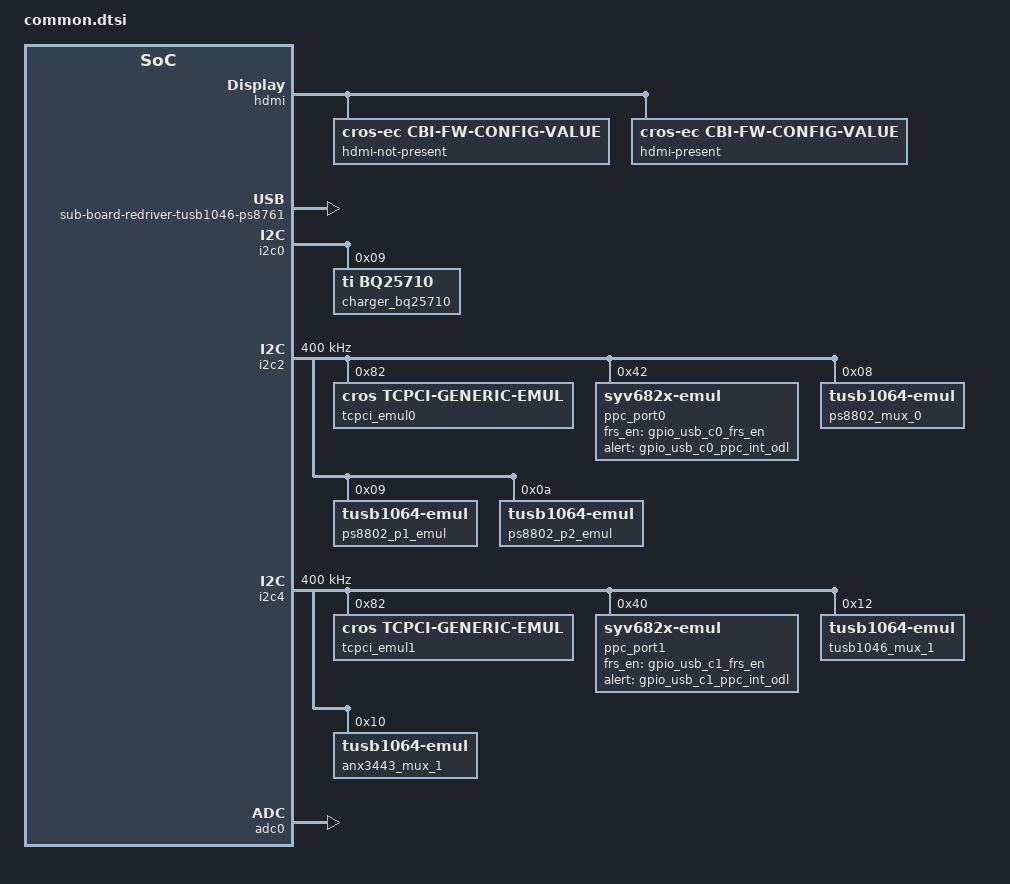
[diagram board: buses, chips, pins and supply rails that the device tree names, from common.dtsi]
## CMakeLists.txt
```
# Copyright 2025 The ChromiumOS Authors
# Use of this source code is governed by a BSD-style license that can be
# found in the LICENSE file.

# SPDX-License-Identifier: Apache-2.0

cmake_minimum_required(VERSION 3.20.0)

# Initialize Zephyr
find_package(Zephyr REQUIRED HINTS $ENV{ZEPHYR_BASE})
project(rauru_usbc_tests)

add_subdirectory(${PLATFORM_EC}/zephyr/test/test_utils test_utils)

zephyr_include_directories(
	"${PLATFORM_EC_PROGRAM_DIR}/rauru/include"
	include)

target_compile_definitions(app PRIVATE CHARGER_SOLO=0 CONFIG_PLATFORM_EC_CHARGER_BQ25720=1)

target_sources(app PRIVATE
	${PLATFORM_EC_PROGRAM_DIR}/rauru/src/common.c
	src/main.c)

if(DEFINED CONFIG_TEST_RAURU_USBC)
	target_sources(app PRIVATE
		${PLATFORM_EC_PROGRAM_DIR}/rauru/src/usbc.c
		${PLATFORM_EC_PROGRAM_DIR}/rauru/src/dp_alt_mode.c
		${PLATFORM_EC_PROGRAM_DIR}/rauru/src/hdmi.c
		${PLATFORM_EC_PROGRAM_DIR}/rauru/src/hooks.c
		${PLATFORM_EC_PROGRAM_DIR}/rauru/src/hibernate.c
		${PLATFORM_EC_PROGRAM_DIR}/rauru/src/sub_board.c
		${PLATFORM_EC_PROGRAM_DIR}/rauru/navi/src/suspend_resume.c
		${PLATFORM_EC_PROGRAM_DIR}/rauru/navi/src/usb_mux.c
		${PLATFORM_EC}/driver/retimer/ps8802.c
		${PLATFORM_EC}/driver/usb_mux/anx3443.c
		src/usbc_test.c
		src/dp_alt_mode_test.c
		src/hooks_test.c
		src/navi_test.c
		src/retimer_mux_test.c
	)
endif()

if(DEFINED CONFIG_TEST_RAURU_HYLIA)
	target_sources(app PRIVATE
		${PLATFORM_EC_PROGRAM_DIR}/rauru/src/usbc.c
		${PLATFORM_EC_PROGRAM_DIR}/rauru/hylia/src/dp_alt_mode.c
		src/hylia_test.c
	)
endif()
```

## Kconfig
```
# Copyright 2026 The ChromiumOS Authors
# Use of this source code is governed by a BSD-style license that can be
# found in the LICENSE file.

choice
    prompt "Select the test suite"

config TEST_RAURU_USBC
    bool "Run the tests intended for Rauru USBC"
    help
      Enable the Rauru USBC test suite.

config TEST_RAURU_HYLIA
    bool "Run the tests intended for Hylia"
    help
      Enable the Rauru Hylia board and USBC/DP test suite.

endchoice

config RAURU_BOARD_HAS_HDMI_SUPPORT
	bool "Board supports HDMI sub-boards"
	default y

config RAURU_LOG_LEVEL
	int "Log level for rauru"
	default 3

# Pull Zephyr test support
source "Kconfig.zephyr"
```

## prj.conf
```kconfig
# Copyright 2026 The ChromiumOS Authors
# Use of this source code is governed by a BSD-style license that can be
# found in the LICENSE file.

CONFIG_ZTEST=y
CONFIG_ZTEST_ASSERT_VERBOSE=1

CONFIG_ASSERT=y
CONFIG_ADC=y
CONFIG_CROS_EC=y
CONFIG_EMUL=y

CONFIG_SHIMMED_TASKS=n

CONFIG_PLATFORM_EC=y
CONFIG_PLATFORM_EC_BACKLIGHT_LID=n

CONFIG_PLATFORM_EC_USB_PD_VBUS_DETECT_PPC=y
CONFIG_PLATFORM_EC_CHARGE_MANAGER=y
CONFIG_PLATFORM_EC_DEDICATED_CHARGE_PORT=y

CONFIG_PLATFORM_EC_GPIO_INIT_PRIORITY=49
CONFIG_PLATFORM_EC_HOOKS=y
CONFIG_PLATFORM_EC_HOSTCMD=y
CONFIG_PLATFORM_EC_LID_SWITCH=y
CONFIG_PLATFORM_EC_POWERSEQ_HOST_SLEEP=y
CONFIG_PLATFORM_EC_POWER_BUTTON=y
CONFIG_PLATFORM_EC_POWER_SLEEP_FAILURE_DETECTION=y
CONFIG_PLATFORM_EC_SWITCH=n
CONFIG_PLATFORM_EC_TABLET_MODE=y
CONFIG_PLATFORM_EC_USBC=y
CONFIG_PLATFORM_EC_USB_CHARGER=n
CONFIG_PLATFORM_EC_USB_DRP_ACC_TRYSRC=y
CONFIG_PLATFORM_EC_USB_PD_DISCHARGE=n
CONFIG_PLATFORM_EC_USB_PD_VBUS_MEASURE_ADC_EACH_PORT=y
CONFIG_PLATFORM_EC_USB_POWER_DELIVERY=y
CONFIG_PLATFORM_EC_VBOOT_HASH=n

CONFIG_AP_ARM_MTK_MT8196=y
CONFIG_PLATFORM_EC_CHIPSET_RESUME_INIT_HOOK=y
CONFIG_PLATFORM_EC_EXTPOWER_GPIO=y
CONFIG_PLATFORM_EC_POWERSEQ=y
CONFIG_PLATFORM_EC_POWERSEQ_PP5000_CONTROL=n

CONFIG_PLATFORM_EC_USBC_PPC=y

CONFIG_UART_NATIVE_PTY_0_ON_STDINOUT=y
CONFIG_PLATFORM_EC_USB_PD_DP_HPD_GPIO=y
CONFIG_PLATFORM_EC_USB_PD_DP_HPD_GPIO_CUSTOM=y
CONFIG_PLATFORM_EC_USB_PD_ALT_MODE_DFP=y
CONFIG_PLATFORM_EC_MKBP_EVENT=y
```

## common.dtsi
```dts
/* Copyright 2025 The ChromiumOS Authors
 * Use of this source code is governed by a BSD-style license that can be
 * found in the LICENSE file.
 */

#include <it8xxx2_emul.dts>
#include "../program/rauru/power_signal.dtsi"

/ {
	aliases {
		gpio-en-hdmi-pwr = &gpio_en_hdmi_pwr;
	};

	rauru-fw-config {
		compatible = "cros-ec,cbi-fw-config";

		hdmi {
			enum-name = "FW_HDMI";
			start = <13>;
			size = <1>;
			hdmi-not-present {
				compatible = "cros-ec,cbi-fw-config-value";
				enum-name = "FW_HDMI_NOT_PRESENT";
				value = <0>;
			};
			hdmi-present {
				compatible = "cros-ec,cbi-fw-config-value";
				enum-name = "FW_HDMI_PRESENT";
				value = <1>;
				default;
			};
		};
		sub-board {
			enum-name = "FW_SUB_BOARD";
			start = <26>;
			size = <2>;

			sub-board-none {
				compatible = "cros-ec,cbi-fw-config-value";
				enum-name = "FW_SB_NONE";
				value = <0>;
			};

			sub-board-redriver-tusb1046-ps8761 {
				compatible = "cros-ec,cbi-fw-config-value";
				enum-name = "FW_SB_REDRIVER";
				value = <1>;
				default;
			};
			sub-board-retimer-anx3443-ps8811 {
				compatible = "cros-ec,cbi-fw-config-value";
				enum-name = "FW_SB_RETIMER";
				value = <2>;
			};
		};
	};

	fan0: fan0 {
	};

	shi0: shi {
		compatible = "vnd,spi";
		#address-cells = <1>;
		#size-cells = <0>;
		cs-gpios = <&gpiom 5 GPIO_ACTIVE_HIGH>;
	};

	pinctrl: pinctrl {
		compatible = "ite,it8xxx2-pinctrl";
		status = "disabled";
	};

	named-gpios {
		compatible = "named-gpios";

		/* unimplemented GPIOs */
		entering_rw: entering_rw {
			enum-name = "GPIO_ENTERING_RW";
		};

		/* a label to prevent build break in power sequencing */
		en_pp4200_s5: en_pp3700_s5 {
			gpios = <&gpioh 5 (GPIO_OUTPUT_LOW)>;
		};

		gpio_als_int_ec_odl: als_int_ec_odl {
			gpios = <&gpiob 6 (GPIO_INPUT)>;
		};
		gpio_ap_ec_sysrst_odl: ap_ec_sysrst_odl {
			gpios = <&gpioj 2 (GPIO_INPUT)>;
			enum-name = "GPIO_AP_EC_SYSRST_ODL";
		};
		gpio_ap_ec_warm_rst_req: ap_ec_warm_rst_req {
			gpios = <&gpiom 3 (GPIO_INPUT)>;
			enum-name = "GPIO_AP_EC_WARM_RST_REQ";
		};
		gpio_ap_ec_wdtrst_l: ap_ec_wdtrst_l {
			gpios = <&gpioj 3 (GPIO_INPUT)>;
			enum-name = "GPIO_AP_EC_WDTRST_L";
		};
		gpio_ap_in_sleep_l: ap_in_sleep_l {
			gpios = <&gpiom 2 (GPIO_INPUT)>;
			enum-name = "GPIO_AP_IN_SLEEP_L";
		};
		gpio_ap_xhci_init_done: ap_xhci_init_done_r {
			gpios = <&gpioj 4 (GPIO_INPUT)>;
		};
		gpio_ccd_mode_odl: ccd_mode_odl {
			gpios = <&gpioe 5 (GPIO_INPUT)>;
		};
		gpio_charger_prochot_odl: charger_prochot_odl {
			gpios = <&gpioc 0 (GPIO_INPUT)>;
		};
		gpio_dp_path_hdmi_en: dp_path_hdmi_en {
			gpios = <&gpioi 6 (GPIO_OUTPUT | GPIO_ACTIVE_HIGH | GPIO_OUTPUT_INIT_LOW)>;
		};
		gpio_dp_path_usb_c1_en: dp_path_usb_c1_en {
			gpios = <&gpiog 0 (GPIO_OUTPUT | GPIO_ACTIVE_HIGH | GPIO_OUTPUT_INIT_LOW)>;
		};
		gpio_ec_ap_dp_hpd_l: ec_ap_dp_hpd_l {
			gpios = <&gpiof 3 (GPIO_OUTPUT | GPIO_INPUT | GPIO_ACTIVE_HIGH | GPIO_OUTPUT_INIT_HIGH)>;
		};
		gpio_ec_ap_int_odl: ec_ap_int_odl {
			gpios = <&gpiom 6 (GPIO_OUTPUT | GPIO_OPEN_DRAIN | GPIO_ACTIVE_HIGH | GPIO_OUTPUT_INIT_HIGH)>;
			enum-name = "GPIO_EC_INT_L";
		};
		gpio_ec_ap_sys_rst_odl: ec_ap_sys_rst_odl {
			gpios = <&gpioj 5 (GPIO_OUTPUT | GPIO_OPEN_DRAIN | GPIO_ACTIVE_HIGH | GPIO_OUTPUT_INIT_HIGH)>;
			enum-name = "GPIO_SYS_RST_ODL";
		};
		gpio_ec_batt_pres_odl: ec_batt_pres_odl {
			gpios = <&gpioc 3 (GPIO_INPUT)>;
			enum-name = "GPIO_BATT_PRES_ODL";
		};
		gpio_ec_bl_en_od: ec_bl_en_od {
			gpios = <&gpiod 2 (GPIO_OUTPUT | GPIO_OPEN_DRAIN | GPIO_ACTIVE_HIGH | GPIO_OUTPUT_INIT_LOW)>;
		};
		gpio_ec_cbi_wp: ec_cbi_wp {
			gpios = <&gpioc 5 (GPIO_OUTPUT | GPIO_ACTIVE_HIGH | GPIO_OUTPUT_INIT_LOW)>;
		};
		gpio_ec_flash_wp_odl: ec_flash_wp_odl {
			gpios = <&gpioc 4 (GPIO_INPUT)>;
		};
		gpio_ec_gsc_packet_mode_en: ec_gsc_packet_mode_en {
			gpios = <&gpioe 6 (GPIO_OUTPUT | GPIO_ACTIVE_HIGH | GPIO_OUTPUT_INIT_LOW)>;
			enum-name = "GPIO_PACKET_MODE_EN";
		};
		gpio_ec_led1_odl: ec_led1_odl {
			gpios = <&gpioa 0 (GPIO_OUTPUT | GPIO_OPEN_DRAIN | GPIO_ACTIVE_HIGH | GPIO_OUTPUT_INIT_HIGH)>;
		};
		gpio_ec_led2_odl: ec_led2_odl {
			gpios = <&gpioa 1 (GPIO_OUTPUT | GPIO_OPEN_DRAIN | GPIO_ACTIVE_HIGH | GPIO_OUTPUT_INIT_HIGH)>;
		};
		gpio_ec_pmic_en_odl_r: ec_pmic_en_odl_r {
			gpios = <&gpioj 0 (GPIO_OUTPUT | GPIO_OPEN_DRAIN | GPIO_ACTIVE_HIGH | GPIO_OUTPUT_INIT_HIGH)>;
			enum-name = "GPIO_EC_PMIC_EN_ODL";
		};
		gpio_ec_voldn_btn_odl: ec_voldn_btn_odl {
			gpios = <&gpioe 3 (GPIO_INPUT)>;
			enum-name = "GPIO_VOLUME_DOWN_L";
		};
		gpio_ec_volup_btn_odl: ec_volup_btn_odl {
			gpios = <&gpioe 4 (GPIO_INPUT)>;
			enum-name = "GPIO_VOLUME_UP_L";
		};
		gpio_en_hdmi_pwr: en_hdmi_pwr {
			gpios = <&gpioi 5 (GPIO_OUTPUT | GPIO_ACTIVE_HIGH | GPIO_OUTPUT_INIT_LOW)>;
		};
		gpio_en_kb_bl: en_kb_bl {
			gpios = <&gpiog 2 (GPIO_OUTPUT | GPIO_ACTIVE_HIGH)>;
			enum-name = "GPIO_EN_KEYBOARD_BACKLIGHT";
		};
		gpio_en_pp5000_fan: en_pp5000_fan {
			gpios = <&gpioa 6 (GPIO_OUTPUT | GPIO_ACTIVE_HIGH | GPIO_OUTPUT_INIT_LOW)>;
		};
		gpio_en_pp5000_pen_l: en_pp5000_pen_l {
			gpios = <&gpiog 3 (GPIO_OUTPUT | GPIO_ACTIVE_HIGH | GPIO_OUTPUT_INIT_HIGH)>;
		};
		gpio_en_pp5000_usba_vbus: en_pp5000_usba_vbus {
			gpios = <&gpiog 1 (GPIO_OUTPUT | GPIO_ACTIVE_HIGH | GPIO_OUTPUT_INIT_LOW)>;
		};
		gpio_en_pp5000_z1: en_pp5000_z1 {
			gpios = <&gpioh 3 (GPIO_OUTPUT | GPIO_ACTIVE_HIGH | GPIO_OUTPUT_INIT_HIGH)>;
		};
		gpio_en_ulp: en_ulp {
			gpios = <&gpioh 0 (GPIO_OUTPUT | GPIO_ACTIVE_HIGH | GPIO_OUTPUT_INIT_LOW)>;
		};
		gpio_gsc_acok_od: gsc_acok_od {
			gpios = <&gpioe 1 (GPIO_INPUT)>;
			enum-name = "GPIO_AC_PRESENT";
		};
		gpio_gsc_ec_pwr_btn_odl: gsc_ec_pwr_btn_odl {
			gpios = <&gpioe 2 (GPIO_INPUT)>;
			enum-name = "GPIO_POWER_BUTTON_L";
		};
		gpio_hdmi_ec_hpd: hdmi_ec_hpd {
			gpios = <&gpioi 7 (GPIO_INPUT)>;
		};
		gpio_imu_int_ec_l: imu_int_ec_l {
			gpios = <&gpiod 0 (GPIO_INPUT)>;
		};
		gpio_lid_360_l: lid_360_l {
			gpios = <&gpioc 7 (GPIO_INPUT)>;
		};
		gpio_lid_accel_int_ec_l: lid_accel_int_ec_l {
			gpios = <&gpiod 1 (GPIO_INPUT)>;
		};
		gpio_lid_open_3v3: lid_open_3v3 {
			gpios = <&gpioc 6 (GPIO_INPUT)>;
			enum-name = "GPIO_LID_OPEN";
		};
		gpio_pg_pp3700_s5_od: pg_pp3700_s5_od {
			gpios = <&gpioh 6 (GPIO_INPUT)>;
			enum-name = "GPIO_PG_PP4200_S5_OD";
		};
		gpio_pg_pp5000_z1_od: pg_pp5000_z1_od {
			gpios = <&gpioh 4 (GPIO_INPUT)>;
		};
		gpio_pmic_ec_resetb: pmic_ec_resetb {
			gpios = <&gpioj 1 (GPIO_INPUT)>;
			enum-name = "GPIO_PMIC_EC_RESETB";
		};
		gpio_usb_c0_dp_in_hpd: usb_c0_dp_in_hpd {
			gpios = <&gpiof 2 (GPIO_OUTPUT | GPIO_INPUT | GPIO_ACTIVE_HIGH | GPIO_OUTPUT_INIT_LOW)>;
		};
		gpio_usb_c1_dp_in_hpd: usb_c1_dp_in_hpd {
			gpios = <&gpiof 4 (GPIO_OUTPUT | GPIO_INPUT | GPIO_ACTIVE_HIGH | GPIO_OUTPUT_INIT_LOW)>;
		};
		gpio_usb_c0_frs_en: usb_c0_frs_en {
			gpios = <&gpiof 0 (GPIO_OUTPUT | GPIO_ACTIVE_HIGH | GPIO_OUTPUT_INIT_LOW)>;
		};
		gpio_usb_c0_ppc_int_odl: usb_c0_ppc_int_odl {
			gpios = <&gpiof 1 (GPIO_INPUT | GPIO_ACTIVE_LOW)>;
		};
		gpio_usb_c1_frs_en: usb_c1_frs_en {
			gpios = <&gpiod 3 (GPIO_OUTPUT | GPIO_ACTIVE_HIGH | GPIO_OUTPUT_INIT_LOW)>;
		};
		gpio_usb_c1_ppc_int_odl: usb_c1_ppc_int_odl {
			gpios = <&gpiod 4 (GPIO_INPUT | GPIO_ACTIVE_LOW)>;
		};
	};

	gpio-interrupts {
		compatible = "cros-ec,gpio-interrupts";

		int_ac_present: ac-present {
			irq-pin = <&gpio_gsc_acok_od>;
			flags = <GPIO_INT_EDGE_BOTH>;
			handler = "extpower_interrupt";
		};

		int_hdmi_ec_hpd: hdmi-ec-hpd {
			irq-pin = <&gpio_hdmi_ec_hpd>;
			flags = <GPIO_INT_EDGE_BOTH>;
			handler = "hdmi_hpd_interrupt";
		};

		int_ap_xhci_init_done: ap-xhci-init-done {
			irq-pin = <&gpio_ap_xhci_init_done>;
			flags = <GPIO_INT_EDGE_BOTH>;
			handler = "xhci_interrupt";
		};
	};

    named-i2c-ports {
		compatible = "named-i2c-ports";

		i2c_ec_i2c_pwr_cbi_scl_3v3: ec_i2c_pwr_cbi_scl_3v3 {
			i2c-port = <&i2c0>;
			enum-names = "I2C_PORT_POWER", "I2C_PORT_EEPROM";
		};
		i2c_ec_smb_batt_scl_3v3: ec_smb_batt_scl_3v3 {
			i2c-port = <&i2c1>;
			enum-names = "I2C_PORT_BATTERY", "I2C_PORT_VIRTUAL_BATTERY";
		};
		i2c_ec_i2c_usb_c0_scl_3v3: ec_i2c_usb_c0_scl_3v3 {
			i2c-port = <&i2c2>;
			enum-names = "I2C_PORT_USB_C0";
		};
		i2c_ec_i2c_sensor_scl_1v8: ec_i2c_sensor_scl_1v8 {
			i2c-port = <&i2c3>;
			enum-names = "I2C_PORT_SENSOR";
		};
		i2c_ec_i2c_usb_c1_scl_3v3: ec_i2c_usb_c1_scl_3v3 {
			i2c-port = <&i2c4>;
			enum-names = "I2C_PORT_USB_C1";
		};
	};

	usbc {
		#address-cells = <1>;
		#size-cells = <0>;

		port0@0 {
			compatible = "named-usbc-port";
			reg = <0>;
			chg = <&charger_bq25710>;
			tcpc = <&tcpci_emul0>;
			ppc = <&ppc_port0>;
			usb-mux-chain-0 {
				compatible = "cros-ec,usb-mux-chain";
				usb-muxes = <&ps8802_mux_0 &virtual_mux_0>;
			};
		};

		port0-muxes {
			virtual_mux_0: virtual-mux-0 {
				compatible = "cros-ec,usbc-mux-virtual";
			};
		};

		port1@1 {
			compatible = "named-usbc-port";
			reg = <1>;
			tcpc = <&tcpci_emul1>;
			ppc = <&ppc_port1>;
			usb-mux-chain-1 {
				compatible = "cros-ec,usb-mux-chain";
				usb-muxes = <&anx3443_mux_1 &virtual_mux_1>;
			};
			usb_mux_chain_tusb1046_port1: usb-mux-chain-1-tusb {
				compatible = "cros-ec,usb-mux-chain";
				usb-muxes = <&tusb1046_mux_1 &virtual_mux_1>;
				alternative-chain;
			};
		};

		port1-muxes {
			virtual_mux_1: virtual-mux-1 {
				compatible = "cros-ec,usbc-mux-virtual";
			};
		};
	};

    named-adc-channels {
		compatible = "named-adc-channels";

		adc_ec_usb_c0_vbus_sense: ec_usb_c0_vbus_sense {
			enum-name = "ADC_VBUS_C0";
			io-channels = <&adc0 0>;
		};
		adc_ec_usb_c1_vbus_sense: ec_usb_c1_vbus_sense {
			enum-name = "ADC_VBUS_C1";
			io-channels = <&adc0 1>;
		};
		adc_charger_amon_q: charger_amon_q {
			enum-name = "ADC_AMON_BMON";
			io-channels = <&adc0 2>;
		};
		adc_charger_pmon_q: charger_pmon_q {
			enum-name = "ADC_PSYS";
			io-channels = <&adc0 3>;
		};
		adc_temp_sensor1: temp_sensor1 {
			enum-name = "ADC_TEMP_SENSOR_1";
			io-channels = <&adc0 4>;
		};
	};
};

&i2c0 {
	charger_bq25710: bq25710@9 {
		compatible = "ti,bq25710","zephyr,rt9490-emul";
		status = "okay";
		reg = <0x9>;
	};
};

&i2c2 {

	status = "okay";
	clock-frequency = <I2C_BITRATE_FAST>;

	tcpci_emul0: tcpci_emul0@82 {
		compatible = "cros,tcpci-generic-emul";
		status = "okay";
		reg = <0x82>;
	};

	ppc_port0: syv682x@42 {
		compatible = "zephyr,syv682x-emul";
		status = "okay";
		reg = <0x42>;
		frs_en_gpio = <&gpio_usb_c0_frs_en>;
		alert_gpio = <&gpio_usb_c0_ppc_int_odl>;
	};

	ps8802_mux_0: ps8802-mx-0@8 {
		compatible = "zephyr,tusb1064-emul";
		status = "okay";
		reg = <0x8>;
	};

	ps8802_p1_emul: ps8802-p1@9 {
		compatible = "zephyr,tusb1064-emul";
		status = "okay";
		reg = <0x9>;
	};

	ps8802_p2_emul: ps8802-p2@a {
		compatible = "zephyr,tusb1064-emul";
		status = "okay";
		reg = <0xa>;
	};
};

&i2c4 {

	status = "okay";
	clock-frequency = <I2C_BITRATE_FAST>;

	tcpci_emul1: tcpci_emul1@82 {
		compatible = "cros,tcpci-generic-emul";
		status = "okay";
		reg = <0x82>;
	};

	ppc_port1: syv682x@40 {
		compatible = "zephyr,syv682x-emul";
		status = "okay";
		reg = <0x40>;
		frs_en_gpio = <&gpio_usb_c1_frs_en>;
		alert_gpio = <&gpio_usb_c1_ppc_int_odl>;
	};

	tusb1046_mux_1: tusb1046-mux-1@12 {
		compatible = "zephyr,tusb1064-emul";
		status = "okay";
		reg = <0x12>;
	};

	anx3443_mux_1: anx3443-mux-1@10 {
		compatible = "zephyr,tusb1064-emul";
		status = "okay";
		reg = <0x10>;
	};
};

&adc0 {
	status = "okay";
};
```

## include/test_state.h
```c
/* Copyright 2026 The ChromiumOS Authors
 * Use of this source code is governed by a BSD-style license that can be
 * found in the LICENSE file.
 */

#ifndef PLATFORM_EC_ZEPHYR_TEST_RAURU_INCLUDE_TEST_STATE_H_
#define PLATFORM_EC_ZEPHYR_TEST_RAURU_INCLUDE_TEST_STATE_H_

#include <stdbool.h>

struct test_state {
	bool ec_app_main_run;
};

bool rauru_predicate_post_main(const void *state);

#endif /* PLATFORM_EC_ZEPHYR_TEST_RAURU_INCLUDE_TEST_STATE_H_ */
```

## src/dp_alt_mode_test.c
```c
/* Copyright 2026 The ChromiumOS Authors
 * Use of this source code is governed by a BSD-style license that can be
 * found in the LICENSE file.
 */

#include "ap_power/ap_power.h"
#include "ap_power/ap_power_events.h"
#include "chipset.h"
#include "cros_board_info.h"
#include "cros_cbi.h"
#include "gpio/gpio_int.h"
#include "hooks.h"
#include "power.h"
#include "rauru_dp.h"
#include "test_state.h"
#include "typec_control.h"
#include "usb_mux.h"
#include "usb_pd.h"
#include "usb_pd_dp_hpd_gpio.h"

#include <zephyr/drivers/gpio/gpio_emul.h>
#include <zephyr/fff.h>
#include <zephyr/kernel.h>
#include <zephyr/ztest.h>

/* Forward declarations */
void hdmi_hpd_interrupt(enum gpio_signal signal);

/* FFF fakes */
FAKE_VALUE_FUNC(int, cros_cbi_get_fw_config, enum cbi_fw_config_field_id,
		uint32_t *);
FAKE_VOID_FUNC(pd_notify_dp_alt_mode_entry, int);

/* Test exports from hdmi.c */
extern bool hdmi_init;
extern bool rauru_has_hdmi;
extern void hdmi_hpd_low_deferred(void);
extern const struct deferred_data hdmi_hpd_low_deferred_data;

static int cbi_not_present(enum cbi_fw_config_field_id id, uint32_t *val)
{
	*val = FW_HDMI_NOT_PRESENT;
	return 0;
}

static int cbi_present(enum cbi_fw_config_field_id id, uint32_t *val)
{
	*val = FW_HDMI_PRESENT;
	return 0;
}

static int cbi_unknown(enum cbi_fw_config_field_id id, uint32_t *val)
{
	*val = 0xFF;
	return 0;
}

static void test_dp_reset(void *fixture)
{
	ARG_UNUSED(fixture);

	RESET_FAKE(cros_cbi_get_fw_config);
	RESET_FAKE(pd_notify_dp_alt_mode_entry);
	FFF_RESET_HISTORY();

	/* Set deterministic fake so rauru_has_hdmi_port() does not read
	 * uninitialized memory */
	cros_cbi_get_fw_config_fake.custom_fake = cbi_not_present;

	gpio_emul_input_set(GPIO_DT_FROM_NODELABEL(gpio_hdmi_ec_hpd)->port,
			    GPIO_DT_FROM_NODELABEL(gpio_hdmi_ec_hpd)->pin, 0);

	/* Reset power state to S0 */
	power_set_state(POWER_S0);

	/* Reset ports */
	for (int i = 0; i < board_get_usb_pd_port_count(); i++) {
		dp_flags[i] = 0;
		dp_status[i] = 0;
		svdm_exit_dp_mode(i);
	}
	rauru_set_dp_path(DP_PORT_NONE);

	/* Reset HDMI cache after exit loop so subsequent tests start
	 * uninitialized */
	hdmi_init = false;
	rauru_has_hdmi = false;

	/* Default HPD GPIO output to 1 (inactive, active low) */
	gpio_pin_set_dt(GPIO_DT_FROM_NODELABEL(gpio_ec_ap_dp_hpd_l), 1);
}

/* ========================================================================= */
/* hdmi.c Unit Tests                                                         */
/* ========================================================================= */

ZTEST(dp_alt_mode_test, test_hdmi_fw_config_branches)
{
	/* 1. CBI read error branch */
	cros_cbi_get_fw_config_fake.custom_fake = NULL;
	cros_cbi_get_fw_config_fake.return_val = -1;
	hdmi_init = false;
	rauru_has_hdmi = false;
	zassert_false(rauru_has_hdmi_port());
	zassert_true(hdmi_init);

	/* 2. Cached branch */
	rauru_has_hdmi = true;
	zassert_true(rauru_has_hdmi_port());

	/* 3. HDMI not present branch */
	hdmi_init = false;
	rauru_has_hdmi = false;
	cros_cbi_get_fw_config_fake.return_val = 0;
	cros_cbi_get_fw_config_fake.custom_fake = cbi_not_present;
	zassert_false(rauru_has_hdmi_port());

	/* 4. HDMI present branch */
	hdmi_init = false;
	cros_cbi_get_fw_config_fake.custom_fake = cbi_present;
	zassert_true(rauru_has_hdmi_port());

	/* 5. HDMI unknown branch */
	hdmi_init = false;
	rauru_has_hdmi = false;
	cros_cbi_get_fw_config_fake.custom_fake = cbi_unknown;
	zassert_false(rauru_has_hdmi_port());
}

ZTEST(dp_alt_mode_test, test_hdmi_hpd_interrupt_flow)
{
	const struct gpio_dt_spec *hdmi_hpd =
		GPIO_DT_FROM_NODELABEL(gpio_hdmi_ec_hpd);
	const struct gpio_dt_spec *ec_ap_hpd_l =
		GPIO_DT_FROM_NODELABEL(gpio_ec_ap_dp_hpd_l);

	/* Set up HDMI present */
	hdmi_init = true;
	rauru_has_hdmi = true;

	/* Verify not muxable when another port (e.g. C0) is already active */
	rauru_set_dp_path(DP_PORT_C0);
	zassert_false(rauru_is_dp_muxable(DP_PORT_HDMI));
	gpio_emul_input_set(hdmi_hpd->port, hdmi_hpd->pin, 1);
	hdmi_hpd_interrupt(0);
	/* Path should still be C0 */
	zassert_equal(rauru_get_dp_path(), DP_PORT_C0);

	/* Reset to NONE so HDMI is muxable */
	rauru_set_dp_path(DP_PORT_NONE);
	zassert_true(rauru_is_dp_muxable(DP_PORT_HDMI));

	/* HPD High flow */
	gpio_emul_input_set(hdmi_hpd->port, hdmi_hpd->pin, 1);
	hdmi_hpd_interrupt(0);
	zassert_equal(rauru_get_dp_path(), DP_PORT_HDMI);
	/* ec_ap_dp_hpd_l is low active, so hpd=1 means level 0 on output */
	zassert_equal(gpio_emul_output_get(ec_ap_hpd_l->port, ec_ap_hpd_l->pin),
		      0);

	/* HPD Low flow */
	gpio_emul_input_set(hdmi_hpd->port, hdmi_hpd->pin, 0);
	hdmi_hpd_interrupt(0);
	/* Output pin should become high (inactive) */
	zassert_equal(gpio_emul_output_get(ec_ap_hpd_l->port, ec_ap_hpd_l->pin),
		      1);

	/* Deferred low handler runs when HPD is still low -> detaches */
	hdmi_hpd_low_deferred();
	zassert_equal(rauru_get_dp_path(), DP_PORT_NONE);

	/* Deferred low handler runs when HPD is high -> does NOT detach */
	rauru_set_dp_path(DP_PORT_HDMI);
	gpio_emul_input_set(hdmi_hpd->port, hdmi_hpd->pin, 1);
	hdmi_hpd_low_deferred();
	zassert_equal(rauru_get_dp_path(), DP_PORT_HDMI);

	/* Cancel any dangling deferred timer scheduled by HPD low */
	hook_call_deferred(&hdmi_hpd_low_deferred_data, -1);
}

ZTEST(dp_alt_mode_test, test_board_hdmi_suspend_resume)
{
	const struct gpio_dt_spec *hdmi_pwr =
		GPIO_DT_FROM_ALIAS(gpio_en_hdmi_pwr);

	/* 1. When HDMI is not supported, callbacks do nothing */
	hdmi_init = true;
	rauru_has_hdmi = false;
	gpio_pin_set_dt(hdmi_pwr, 0);
	ap_power_ev_send_callbacks(AP_POWER_RESUME);
	zassert_equal(gpio_emul_output_get(hdmi_pwr->port, hdmi_pwr->pin), 0);

	/* 2. When HDMI is supported */
	rauru_has_hdmi = true;

	/* Resume: sets en_hdmi_pwr to 1 and enables interrupt */
	ap_power_ev_send_callbacks(AP_POWER_RESUME);
	zassert_equal(gpio_emul_output_get(hdmi_pwr->port, hdmi_pwr->pin), 1);

	/* Suspend: sets en_hdmi_pwr to 0 and disables interrupt */
	ap_power_ev_send_callbacks(AP_POWER_SUSPEND);
	zassert_equal(gpio_emul_output_get(hdmi_pwr->port, hdmi_pwr->pin), 0);

	/* Non-handled event (e.g. AP_POWER_RESET) should do nothing */
	ap_power_ev_send_callbacks(AP_POWER_RESET);
}

/* ========================================================================= */
/* dp_alt_mode.c Unit Tests                                                  */
/* ========================================================================= */

ZTEST(dp_alt_mode_test, test_dp_path_and_gpio)
{
	const struct gpio_dt_spec *c1_en =
		GPIO_DT_FROM_NODELABEL(gpio_dp_path_usb_c1_en);
	const struct gpio_dt_spec *hdmi_en =
		GPIO_DT_FROM_NODELABEL(gpio_dp_path_hdmi_en);
	const struct gpio_dt_spec *c0_hpd =
		GPIO_DT_FROM_NODELABEL(gpio_usb_c0_dp_in_hpd);
	const struct gpio_dt_spec *c1_hpd =
		GPIO_DT_FROM_NODELABEL(gpio_usb_c1_dp_in_hpd);
	const struct gpio_dt_spec *ap_hpd_l =
		GPIO_DT_FROM_NODELABEL(gpio_ec_ap_dp_hpd_l);

	/* Initially NONE */
	rauru_set_dp_path(DP_PORT_NONE);
	zassert_equal(rauru_get_dp_path(), DP_PORT_NONE);
	zassert_equal(gpio_emul_output_get(c1_en->port, c1_en->pin), 0);
	zassert_equal(gpio_emul_output_get(hdmi_en->port, hdmi_en->pin), 0);
	zassert_equal(gpio_emul_output_get(c0_hpd->port, c0_hpd->pin), 0);
	zassert_equal(gpio_emul_output_get(c1_hpd->port, c1_hpd->pin), 0);

	/* Setting same path is a no-op */
	rauru_set_dp_path(DP_PORT_NONE);

	/* Path C1 */
	rauru_set_dp_path(DP_PORT_C1);
	zassert_equal(rauru_get_dp_path(), DP_PORT_C1);
	zassert_equal(gpio_emul_output_get(c1_en->port, c1_en->pin), 1);
	zassert_equal(gpio_emul_output_get(hdmi_en->port, hdmi_en->pin), 0);
	zassert_equal(gpio_emul_output_get(c0_hpd->port, c0_hpd->pin), 0);
	zassert_equal(gpio_emul_output_get(c1_hpd->port, c1_hpd->pin), 1);

	/* Path HDMI */
	rauru_set_dp_path(DP_PORT_HDMI);
	zassert_equal(rauru_get_dp_path(), DP_PORT_HDMI);
	zassert_equal(gpio_emul_output_get(c1_en->port, c1_en->pin), 0);
	zassert_equal(gpio_emul_output_get(hdmi_en->port, hdmi_en->pin), 1);
	zassert_equal(gpio_emul_output_get(c0_hpd->port, c0_hpd->pin), 0);
	zassert_equal(gpio_emul_output_get(c1_hpd->port, c1_hpd->pin), 0);

	/* Path C0 */
	rauru_set_dp_path(DP_PORT_C0);
	zassert_equal(rauru_get_dp_path(), DP_PORT_C0);
	zassert_equal(gpio_emul_output_get(c1_en->port, c1_en->pin), 0);
	zassert_equal(gpio_emul_output_get(hdmi_en->port, hdmi_en->pin), 0);
	zassert_equal(gpio_emul_output_get(c0_hpd->port, c0_hpd->pin), 1);
	zassert_equal(gpio_emul_output_get(c1_hpd->port, c1_hpd->pin), 0);

	/* svdm_set_hpd_gpio for inactive port does nothing */
	svdm_set_hpd_gpio(DP_PORT_C1, 1);
	zassert_equal(svdm_get_hpd_gpio(DP_PORT_C0), 0);

	/* svdm_set_hpd_gpio for active port */
	svdm_set_hpd_gpio(DP_PORT_C0, 1);
	zassert_equal(gpio_emul_output_get(ap_hpd_l->port, ap_hpd_l->pin), 0);
	zassert_equal(svdm_get_hpd_gpio(DP_PORT_C0), 1);

	svdm_set_hpd_gpio(DP_PORT_C0, 0);
	zassert_equal(gpio_emul_output_get(ap_hpd_l->port, ap_hpd_l->pin), 1);
	zassert_equal(svdm_get_hpd_gpio(DP_PORT_C0), 0);
}

ZTEST(dp_alt_mode_test, test_rauru_is_hpd_high)
{
	const struct gpio_dt_spec *hdmi_hpd =
		GPIO_DT_FROM_NODELABEL(gpio_hdmi_ec_hpd);

	/* HDMI port check */
	gpio_emul_input_set(hdmi_hpd->port, hdmi_hpd->pin, 1);
	zassert_true(rauru_is_hpd_high(DP_PORT_HDMI));

	gpio_emul_input_set(hdmi_hpd->port, hdmi_hpd->pin, 0);
	zassert_false(rauru_is_hpd_high(DP_PORT_HDMI));

	/* Type-C port checks via dp_status */
	dp_status[0] = 0;
	zassert_false(rauru_is_hpd_high(DP_PORT_C0));

	dp_status[0] = BIT(7); /* HPD_LVL bit */
	zassert_true(rauru_is_hpd_high(DP_PORT_C0));
}

ZTEST(dp_alt_mode_test, test_rauru_detach_and_rotate)
{
	const struct gpio_dt_spec *hdmi_hpd =
		GPIO_DT_FROM_NODELABEL(gpio_hdmi_ec_hpd);

	hdmi_init = true;
	rauru_has_hdmi = true;

	/* Detach non-active port does nothing */
	rauru_set_dp_path(DP_PORT_C0);
	rauru_detach_dp_path(DP_PORT_C1);
	zassert_equal(rauru_get_dp_path(), DP_PORT_C0);

	/* Rotate to HDMI if HDMI HPD is high */
	gpio_emul_input_set(hdmi_hpd->port, hdmi_hpd->pin, 1);
	rauru_detach_dp_path(DP_PORT_C0);
	zassert_equal(rauru_get_dp_path(), DP_PORT_HDMI);

	/* Detach HDMI: if C1 has HPD high, rotates to C1 */
	gpio_emul_input_set(hdmi_hpd->port, hdmi_hpd->pin, 0);
	dp_status[1] = BIT(7); /* C1 HPD high */
	dp_status[0] = 0;
	rauru_detach_dp_path(DP_PORT_HDMI);
	zassert_equal(rauru_get_dp_path(), DP_PORT_C1);

	/* Detach C1: if no other port active, path becomes NONE */
	dp_status[1] = 0;
	rauru_detach_dp_path(DP_PORT_C1);
	zassert_equal(rauru_get_dp_path(), DP_PORT_NONE);
}

ZTEST(dp_alt_mode_test, test_svdm_dp_post_config)
{
	dp_status[0] = 0;
	dp_status[1] = 0;

	/* 1. When port == active_dp_port */
	rauru_set_dp_path(DP_PORT_C0);
	svdm_dp_post_config(0);
	zassert_true(dp_flags[0] & DP_FLAGS_DP_ON);

	/* 2. When port != active_dp_port */
	svdm_dp_post_config(1);
	zassert_true(dp_flags[1] & DP_FLAGS_DP_ON);
}

ZTEST(dp_alt_mode_test, test_svdm_dp_attention)
{
	uint32_t payload[2];

	/* 1. Attention when port is not muxable */
	rauru_set_dp_path(DP_PORT_C0);
	payload[0] = 0;
	payload[1] = BIT(7); /* HPD_LVL = 1 */
	zassert_equal(svdm_dp_attention(1, payload), 0);

	/* 2. Level high, IRQ 0 in S0 */
	power_set_state(POWER_S0);
	rauru_set_dp_path(DP_PORT_NONE);
	payload[1] = BIT(7); /* lvl=1, irq=0 */
	zassert_equal(svdm_dp_attention(0, payload), 1);
	zassert_equal(rauru_get_dp_path(), DP_PORT_C0);
	zassert_equal(pd_notify_dp_alt_mode_entry_fake.call_count, 0);

	/* 3. Level high, IRQ 1 in Suspend (wakes AP) */
	power_set_state(POWER_S3);
	payload[1] = BIT(7) | BIT(8); /* lvl=1, irq=1 */
	zassert_equal(svdm_dp_attention(0, payload), 1);
	zassert_equal(pd_notify_dp_alt_mode_entry_fake.call_count, 1);

	/* 4. Level low (lvl=0, irq=0) in S0 - rotates to C1 since C1 HPD was
	 * high */
	power_set_state(POWER_S0);
	payload[1] = 0;
	zassert_equal(svdm_dp_attention(0, payload), 1);
	zassert_equal(rauru_get_dp_path(), DP_PORT_C1);

	/* 5. Level low on C1 - now detaches to DP_PORT_NONE */
	zassert_equal(svdm_dp_attention(1, payload), 1);
	zassert_equal(rauru_get_dp_path(), DP_PORT_NONE);

	/* 6. Invalid dp_hpd_gpio_set (lvl=0, irq=1 fails with EC_ERROR_INVAL)
	 */
	rauru_set_dp_path(DP_PORT_C0);
	payload[1] = BIT(8); /* irq=1, lvl=0 */
	zassert_equal(svdm_dp_attention(0, payload), 0);
}

ZTEST(dp_alt_mode_test, test_svdm_exit_dp_mode)
{
	rauru_set_dp_path(DP_PORT_C0);
	dp_flags[0] = DP_FLAGS_DP_ON;
	dp_status[0] = BIT(7);

	svdm_exit_dp_mode(0);

	zassert_equal(dp_flags[0], 0);
	zassert_equal(dp_status[0], 0);
	zassert_equal(rauru_get_dp_path(), DP_PORT_NONE);
}

ZTEST_SUITE(dp_alt_mode_test, rauru_predicate_post_main, NULL, test_dp_reset,
	    test_dp_reset, NULL);
```

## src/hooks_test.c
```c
/* Copyright 2026 The ChromiumOS Authors
 * Use of this source code is governed by a BSD-style license that can be
 * found in the LICENSE file.
 */

#include "charger.h"
#include "cros_board_info.h"
#include "cros_cbi.h"
#include "driver/charger/bq25710.h"
#include "driver/charger/bq257x0_regs.h"
#include "fan.h"
#include "gpio.h"
#include "gpio_signal.h"
#include "hooks.h"
#include "i2c.h"
#include "rauru_sub_board.h"
#include "system.h"
#include "test_state.h"
#include "usb_pd.h"
#include "usb_tc_sm.h"
#include "usbc/usb_muxes.h"

#include <zephyr/drivers/gpio/gpio_emul.h>
#include <zephyr/fff.h>
#include <zephyr/kernel.h>
#include <zephyr/ztest.h>

/* Forward declarations */
void xhci_interrupt(enum gpio_signal signal);
void board_hibernate_late(void);
enum pd_dual_role_states pd_get_drp_state_in_s0(void);
void update_bq25720_input_voltage(void);

/* Test exports from hooks.c and sub_board.c */
extern void rauru_common_init(void);
extern enum rauru_sub_board_type rauru_cached_sub_board;

const struct charger_config_t chg_chips[] = {
	[CHARGER_SOLO] = {
		.i2c_port = I2C_PORT_POWER,
		.i2c_addr_flags = 0x09,
	},
};

/* FFF declarations */
DECLARE_FAKE_VALUE_FUNC(int, cros_cbi_get_fw_config,
			enum cbi_fw_config_field_id, uint32_t *);
FAKE_VOID_FUNC(fan_set_rpm_mode, int, int);
FAKE_VOID_FUNC(fan_set_rpm_target, int, int);

/* Weak override for tc_is_attached_src */
static int mock_tc_is_attached_src;
int tc_is_attached_src(int port)
{
	return mock_tc_is_attached_src;
}

static int cbi_sb_none(enum cbi_fw_config_field_id id, uint32_t *val)
{
	ARG_UNUSED(id);
	*val = FW_SB_NONE;
	return 0;
}

static int cbi_sb_redriver(enum cbi_fw_config_field_id id, uint32_t *val)
{
	ARG_UNUSED(id);
	*val = FW_SB_REDRIVER;
	return 0;
}

static int cbi_sb_retimer(enum cbi_fw_config_field_id id, uint32_t *val)
{
	ARG_UNUSED(id);
	*val = FW_SB_RETIMER;
	return 0;
}

static int cbi_sb_unknown(enum cbi_fw_config_field_id id, uint32_t *val)
{
	ARG_UNUSED(id);
	*val = 0xFF;
	return 0;
}

static struct usb_mux_chain orig_usb_mux_1;
static bool orig_mux_saved;

static void test_hooks_reset(void *fixture)
{
	ARG_UNUSED(fixture);

	if (!orig_mux_saved) {
		orig_usb_mux_1 = usb_muxes[1];
		orig_mux_saved = true;
	} else {
		usb_muxes[1] = orig_usb_mux_1;
	}

	RESET_FAKE(fan_set_rpm_mode);
	RESET_FAKE(fan_set_rpm_target);
	cros_cbi_get_fw_config_fake.return_val = 0;
	cros_cbi_get_fw_config_fake.custom_fake = cbi_sb_none;

	rauru_cached_sub_board = RAURU_SB_UNKNOWN;
	mock_tc_is_attached_src = false;
}

/* ========================================================================= */
/* sub_board.c Unit Tests                                                    */
/* ========================================================================= */

ZTEST(hooks_test, test_rauru_get_sb_type_cached)
{
	rauru_cached_sub_board = RAURU_SB_REDRIVER;
	zassert_equal(rauru_get_sb_type(), RAURU_SB_REDRIVER);
}

ZTEST(hooks_test, test_rauru_get_sb_type_error)
{
	rauru_cached_sub_board = RAURU_SB_UNKNOWN;
	cros_cbi_get_fw_config_fake.custom_fake = NULL;
	cros_cbi_get_fw_config_fake.return_val = -1;
	zassert_equal(rauru_get_sb_type(), RAURU_SB_NONE);
	zassert_equal(rauru_cached_sub_board, RAURU_SB_NONE);
}

ZTEST(hooks_test, test_rauru_get_sb_type_default)
{
	rauru_cached_sub_board = RAURU_SB_UNKNOWN;
	cros_cbi_get_fw_config_fake.custom_fake = cbi_sb_unknown;
	zassert_equal(rauru_get_sb_type(), RAURU_SB_NONE);
	zassert_equal(rauru_cached_sub_board, RAURU_SB_NONE);
}

ZTEST(hooks_test, test_rauru_get_sb_type_none)
{
	rauru_cached_sub_board = RAURU_SB_UNKNOWN;
	cros_cbi_get_fw_config_fake.custom_fake = cbi_sb_none;
	zassert_equal(rauru_get_sb_type(), RAURU_SB_NONE);
	zassert_equal(rauru_cached_sub_board, RAURU_SB_NONE);
}

ZTEST(hooks_test, test_rauru_get_sb_type_redriver)
{
	rauru_cached_sub_board = RAURU_SB_UNKNOWN;
	cros_cbi_get_fw_config_fake.custom_fake = cbi_sb_redriver;
	zassert_equal(rauru_get_sb_type(), RAURU_SB_REDRIVER);
	zassert_equal(rauru_cached_sub_board, RAURU_SB_REDRIVER);
}

ZTEST(hooks_test, test_rauru_get_sb_type_retimer)
{
	rauru_cached_sub_board = RAURU_SB_UNKNOWN;
	cros_cbi_get_fw_config_fake.custom_fake = cbi_sb_retimer;
	zassert_equal(rauru_get_sb_type(), RAURU_SB_RETIMER);
	zassert_equal(rauru_cached_sub_board, RAURU_SB_RETIMER);
}

/* ========================================================================= */
/* hibernate.c Unit Tests                                                    */
/* ========================================================================= */

ZTEST(hooks_test, test_board_hibernate_late)
{
	const struct gpio_dt_spec *en_5v =
		GPIO_DT_FROM_NODELABEL(gpio_en_pp5000_z1);
	const struct gpio_dt_spec *en_ulp = GPIO_DT_FROM_NODELABEL(gpio_en_ulp);

	/* Initialize to pre-hibernate states */
	gpio_pin_set_dt(en_5v, 1);
	gpio_pin_set_dt(en_ulp, 0);

	board_hibernate_late();

	/* PP5000 5V line must be shut off (0) */
	zassert_equal(gpio_emul_output_get(en_5v->port, en_5v->pin), 0);
	/* ULP rail must be enabled (1) */
	zassert_equal(gpio_emul_output_get(en_ulp->port, en_ulp->pin), 1);
}

/* ========================================================================= */
/* hooks.c Unit Tests                                                        */
/* ========================================================================= */

ZTEST(hooks_test, test_rauru_common_init)
{
	int reg_val;

	/* Pre-set EXTILIM bit in charge option 2 register */
	i2c_write16(I2C_PORT_POWER, 0x09, BQ25710_REG_CHARGE_OPTION_2,
		    1 << BQ257X0_CHARGE_OPTION_2_EN_EXTILIM_SHIFT);
	i2c_read16(I2C_PORT_POWER, 0x09, BQ25710_REG_CHARGE_OPTION_2, &reg_val);
	zassert_true(reg_val & (1 << BQ257X0_CHARGE_OPTION_2_EN_EXTILIM_SHIFT));

	cros_cbi_get_fw_config_fake.custom_fake = cbi_sb_redriver;
	rauru_common_init();
	zassert_equal(rauru_cached_sub_board, RAURU_SB_REDRIVER);

	/* Verify EXTILIM bit is cleared */
	i2c_read16(I2C_PORT_POWER, 0x09, BQ25710_REG_CHARGE_OPTION_2, &reg_val);
	zassert_false(reg_val &
		      (1 << BQ257X0_CHARGE_OPTION_2_EN_EXTILIM_SHIFT));
}

ZTEST(hooks_test, test_pd_get_drp_state_in_s0)
{
	const struct gpio_dt_spec *xhci =
		GPIO_DT_FROM_NODELABEL(gpio_ap_xhci_init_done);

	/* High input indicates XHCI inited -> toggle on */
	gpio_emul_input_set(xhci->port, xhci->pin, 1);
	zassert_equal(pd_get_drp_state_in_s0(), PD_DRP_TOGGLE_ON);

	/* Low input indicates XHCI not inited -> force sink */
	gpio_emul_input_set(xhci->port, xhci->pin, 0);
	zassert_equal(pd_get_drp_state_in_s0(), PD_DRP_FORCE_SINK);
}

ZTEST(hooks_test, test_xhci_interrupt_high)
{
	enum gpio_signal sig =
		GPIO_SIGNAL(DT_NODELABEL(gpio_ap_xhci_init_done));
	const struct gpio_dt_spec *xhci =
		GPIO_DT_FROM_NODELABEL(gpio_ap_xhci_init_done);

	for (int i = 0; i < CONFIG_USB_PD_PORT_MAX_COUNT; i++) {
		pd_set_dual_role(i, PD_DRP_FORCE_SINK);
	}

	/* Set level high */
	gpio_emul_input_set(xhci->port, xhci->pin, 1);
	xhci_interrupt(sig);

	for (int i = 0; i < CONFIG_USB_PD_PORT_MAX_COUNT; i++) {
		zassert_equal(pd_get_dual_role(i), PD_DRP_TOGGLE_ON);
	}
}

ZTEST(hooks_test, test_xhci_interrupt_low_attached_src)
{
	enum gpio_signal sig =
		GPIO_SIGNAL(DT_NODELABEL(gpio_ap_xhci_init_done));
	const struct gpio_dt_spec *xhci =
		GPIO_DT_FROM_NODELABEL(gpio_ap_xhci_init_done);

	for (int i = 0; i < CONFIG_USB_PD_PORT_MAX_COUNT; i++) {
		pd_set_dual_role(i, PD_DRP_TOGGLE_ON);
	}

	mock_tc_is_attached_src = true;
	gpio_emul_input_set(xhci->port, xhci->pin, 0);
	xhci_interrupt(sig);

	for (int i = 0; i < CONFIG_USB_PD_PORT_MAX_COUNT; i++) {
		zassert_equal(pd_get_dual_role(i), PD_DRP_FORCE_SINK);
	}
}

ZTEST(hooks_test, test_xhci_interrupt_low_not_attached_src)
{
	enum gpio_signal sig =
		GPIO_SIGNAL(DT_NODELABEL(gpio_ap_xhci_init_done));
	const struct gpio_dt_spec *xhci =
		GPIO_DT_FROM_NODELABEL(gpio_ap_xhci_init_done);

	mock_tc_is_attached_src = false;
	for (int i = 0; i < CONFIG_USB_PD_PORT_MAX_COUNT; i++) {
		pd_set_dual_role(i, PD_DRP_TOGGLE_ON);
	}
	gpio_emul_input_set(xhci->port, xhci->pin, 0);
	xhci_interrupt(sig);

	/* Unchanged since not attached src */
	for (int i = 0; i < CONFIG_USB_PD_PORT_MAX_COUNT; i++) {
		zassert_equal(pd_get_dual_role(i), PD_DRP_TOGGLE_ON);
	}
}

ZTEST(hooks_test, test_fan_low_rpm)
{
	hook_notify(HOOK_CHIPSET_RESUME);
	zassert_equal(fan_set_rpm_mode_fake.call_count, 1);
	zassert_equal(fan_set_rpm_mode_fake.arg0_val, 0);
	zassert_equal(fan_set_rpm_mode_fake.arg1_val, 1);
	zassert_equal(fan_set_rpm_target_fake.call_count, 1);
	zassert_equal(fan_set_rpm_target_fake.arg0_val, 0);
	zassert_equal(fan_set_rpm_target_fake.arg1_val, 3000);
}

ZTEST(hooks_test, test_update_bq25720_input_voltage)
{
	int reg_val;

	/* Write a non-zero value to input voltage register */
	i2c_write16(I2C_PORT_POWER, 0x09, BQ25710_REG_INPUT_VOLTAGE, 0x1234);
	i2c_read16(I2C_PORT_POWER, 0x09, BQ25710_REG_INPUT_VOLTAGE, &reg_val);
	zassert_equal(reg_val, 0x1234);

	update_bq25720_input_voltage();

	/* Verify input voltage register was cleared to 0 */
	i2c_read16(I2C_PORT_POWER, 0x09, BQ25710_REG_INPUT_VOLTAGE, &reg_val);
	zassert_equal(reg_val, 0);
}

ZTEST_SUITE(hooks_test, rauru_predicate_post_main, NULL, test_hooks_reset,
	    test_hooks_reset, NULL);
```

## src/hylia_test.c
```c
/* Copyright 2026 The ChromiumOS Authors
 * Use of this source code is governed by a BSD-style license that can be
 * found in the LICENSE file.
 */

#include "hooks.h"
#include "test_state.h"
#include "timer.h"
#include "usb_dp_alt_mode.h"
#include "usb_mux.h"
#include "usb_pd.h"
#include "usb_pd_dp_hpd_gpio.h"
#include "usbc/pdc_power_mgmt.h"
#include "usbc/usb_muxes.h"

#include <zephyr/drivers/gpio/gpio_emul.h>
#include <zephyr/fff.h>
#include <zephyr/kernel.h>
#include <zephyr/ztest.h>

extern uint64_t svdm_hpd_deadline[CONFIG_USB_PD_PORT_MAX_COUNT];
void hylia_dp_attention(int port, uint32_t vdo_dp_status);
void hylia_set_unattached(int port);

FAKE_VALUE_FUNC(int, pdc_power_mgmt_register_board_callback,
		enum pdc_power_mgmt_board_cb_t, const void *);
FAKE_VALUE_FUNC(mux_state_t, pdc_power_mgmt_get_dp_mux_mode, int);
FAKE_VALUE_FUNC(int, ppc_is_sourcing_vbus, int);
FAKE_VOID_FUNC(pd_set_vbus_discharge, int, int);
FAKE_VALUE_FUNC(int, ppc_vbus_sink_enable, int, int);
FAKE_VALUE_FUNC(int, ppc_vbus_source_enable, int, int);
FAKE_VOID_FUNC(hdmi_hpd_interrupt, enum gpio_signal);
FAKE_VOID_FUNC(xhci_interrupt, enum gpio_signal);

static void test_hylia_before(void *fixture)
{
	ARG_UNUSED(fixture);

	RESET_FAKE(pdc_power_mgmt_register_board_callback);
	RESET_FAKE(pdc_power_mgmt_get_dp_mux_mode);
	RESET_FAKE(ppc_is_sourcing_vbus);
	RESET_FAKE(ppc_vbus_sink_enable);
	RESET_FAKE(ppc_vbus_source_enable);
	FFF_RESET_HISTORY();

	pdc_power_mgmt_get_dp_mux_mode_fake.return_val = USB_PD_MUX_DP_ENABLED;

	for (int i = 0; i < CONFIG_USB_PD_PORT_MAX_COUNT; i++) {
		pd_set_suspend(i, 1);
	}
	k_msleep(10);

	for (int i = 0; i < CONFIG_USB_PD_PORT_MAX_COUNT; i++) {
		svdm_hpd_deadline[i] = 0;
		svdm_set_hpd_gpio(i, 0);
		usb_mux_set(i, USB_PD_MUX_NONE, USB_SWITCH_DISCONNECT, 0);
	}
}

ZTEST(hylia_test, test_hylia_pdc_cb_init)
{
	hook_notify(HOOK_INIT);

	zassert_equal(pdc_power_mgmt_register_board_callback_fake.call_count,
		      2);
	zassert_equal(
		pdc_power_mgmt_register_board_callback_fake.arg0_history[0],
		PDC_BOARD_CB_UNATTACH);
	zassert_equal(
		pdc_power_mgmt_register_board_callback_fake.arg1_history[0],
		hylia_set_unattached);
	zassert_equal(
		pdc_power_mgmt_register_board_callback_fake.arg0_history[1],
		PDC_BOARD_CB_DP_ATTENTION);
	zassert_equal(
		pdc_power_mgmt_register_board_callback_fake.arg1_history[1],
		hylia_dp_attention);
}

ZTEST(hylia_test, test_hylia_hpd_gpio_and_unattached)
{
	svdm_set_hpd_gpio(0, 1);
	svdm_set_hpd_gpio(1, 1);
	zassert_equal(svdm_get_hpd_gpio(0), 1);
	zassert_equal(svdm_get_hpd_gpio(1), 1);

	hylia_set_unattached(0);
	zassert_equal(svdm_get_hpd_gpio(0), 0);
	zassert_equal(svdm_get_hpd_gpio(1), 1);

	hylia_set_unattached(1);
	zassert_equal(svdm_get_hpd_gpio(1), 0);
}

ZTEST(hylia_test, test_hylia_dp_attention_flow)
{
	uint32_t vdo_lvl_high = VDO_DP_STATUS(0, 1, 0, 0, 0, 1, 0, 2);
	uint32_t vdo_irq_high = VDO_DP_STATUS(1, 1, 0, 0, 0, 1, 0, 2);
	uint32_t vdo_irq_low = VDO_DP_STATUS(1, 0, 0, 0, 0, 1, 0, 2);
	uint32_t vdo_lvl_low = VDO_DP_STATUS(0, 0, 0, 0, 0, 1, 0, 2);

	/* 1. Invalid IRQ=1 with LVL=0 returns early without asserting HPD */
	hylia_dp_attention(0, vdo_irq_low);
	zassert_equal(svdm_get_hpd_gpio(0), 0);
	zassert_equal(svdm_hpd_deadline[0], 0);
	zassert_true(usb_mux_set_completed(0));

	/* 2. Normal HPD high assertion updates mux synchronously and sets HPD
	 */
	hylia_dp_attention(0, vdo_lvl_high);
	zassert_equal(svdm_get_hpd_gpio(0), 1);
	zassert_true(svdm_hpd_deadline[0] > 0);
	zassert_true(usb_mux_set_completed(0));
	zassert_equal(usb_mux_get(0),
		      USB_PD_MUX_DP_ENABLED | USB_PD_MUX_HPD_LVL);

	/* 3. HPD IRQ when cur_lvl == 1 and now < svdm_hpd_deadline sleeps then
	 * pulses */
	svdm_hpd_deadline[0] = get_time().val + 1000;
	hylia_dp_attention(0, vdo_irq_high);
	zassert_equal(svdm_get_hpd_gpio(0), 1);
	zassert_equal(usb_mux_get(0), USB_PD_MUX_DP_ENABLED |
					      USB_PD_MUX_HPD_LVL |
					      USB_PD_MUX_HPD_IRQ);

	/* 4. HPD IRQ when cur_lvl == 1 and now >= svdm_hpd_deadline pulses
	 * immediately */
	svdm_hpd_deadline[0] = 0;
	hylia_dp_attention(0, vdo_irq_high);
	zassert_equal(svdm_get_hpd_gpio(0), 1);

	/* 5. HPD low deassertion clears HPD GPIO and HPD mux state */
	hylia_dp_attention(0, vdo_lvl_low);
	zassert_equal(svdm_get_hpd_gpio(0), 0);
	zassert_equal(usb_mux_get(0), USB_PD_MUX_DP_ENABLED);
}

ZTEST_SUITE(hylia_test, rauru_predicate_post_main, NULL, test_hylia_before,
	    test_hylia_before, NULL);

ZTEST(hylia_test, test_hylia_dp_alt_mode_stubs)
{
	int port = 0;
	uint32_t payload[7];

	dp_init(port);
	zassert_false(dp_is_active(port));
	zassert_true(dp_is_idle(port));
	zassert_false(dp_entry_is_done(port));
	dp_vdm_acked(port, TCPCI_MSG_SOP, 0, NULL);
	dp_vdm_naked(port, TCPCI_MSG_SOP, 0);
	zassert_equal(MSG_SETUP_ERROR, dp_setup_next_vdm(port, NULL, payload));
	zassert_false(dp_mode_entry_allowed(port));
	zassert_equal(0, dp_get_mode_vdo(port, TCPCI_MSG_SOP));
	zassert_equal(DPAM_VERSION_20,
		      dp_resolve_dpam_version(port, TCPCI_MSG_SOP));
	zassert_equal(DP_HBR3, dp_get_cable_bit_rate(port));
}
```
